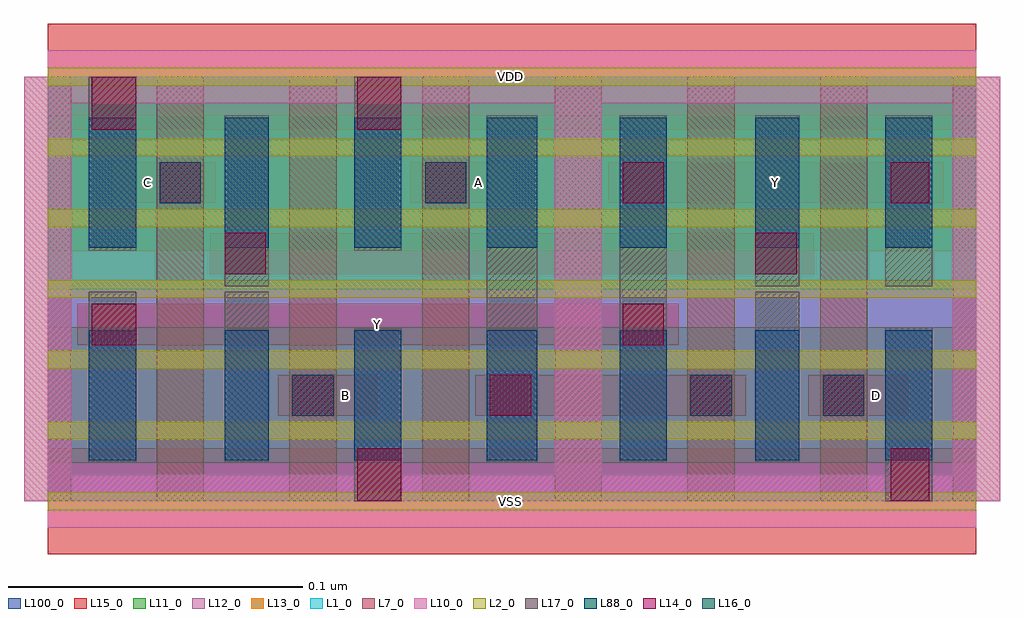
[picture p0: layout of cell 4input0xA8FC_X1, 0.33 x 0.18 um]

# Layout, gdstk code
import gdstk
lib = gdstk.Library(unit=1e-6, precision=1e-09)
def R(c, l, rs):  # rectangles x0, y0, x1, y1
    for r in rs: c.add(gdstk.rectangle(r[:2], r[2:], *l))
def A(c, l, x, y, w, h, nx, ny, dx, dy):  # array of equal rectangles
    R(c, l, [(x+i*dx, y+j*dy, x+i*dx+w, y+j*dy+h) for i in range(nx) for j in range(ny)])
def P(c, l, *ps):  # polygons
    for p in ps: c.add(gdstk.Polygon(p, *l))
L1_0 = (1, 0)
L2_0 = (2, 0)
L7_0 = (7, 0)
L10_0 = (10, 0)
L11_0 = (11, 0)
L12_0 = (12, 0)
L13_0 = (13, 0)
L14_0 = (14, 0)
L15_0 = (15, 0)
L16_0 = (16, 0)
L17_0 = (17, 0)
L88_0 = (88, 0)
L100_0 = (100, 0)

c_4input0xa8fc_x1 = lib.new_cell('4input0xA8FC_X1')
R(c_4input0xa8fc_x1, L1_0, [(0,0.072,0.315,0.144)])
A(c_4input0xa8fc_x1, L2_0, 0, -0.003, 0.315, 0.006, 1, 7, 0, 0.024)
A(c_4input0xa8fc_x1, L7_0, -0.008, 0, 0.016, 0.144, 8, 1, 0.045, 0)
P(c_4input0xa8fc_x1, L10_0, [(0,-0.009),(0,0),(-0.008,0),(-0.008,0.135),(0.008,0.135),(0.008,0.009),(0.172,0.009),(0.172,0.135),(0.188,0.135),(0.188,0.009),(0.307,0.009),(0.307,0.135),(-0.008,0.135),(-0.008,0.144),(0,0.144),(0,0.153),(0.315,0.153),(0.315,0.144),(0.323,0.144),(0.323,0),(0.315,0),(0.315,-0.009)])
R(c_4input0xa8fc_x1, L11_0, [(0,0.013,0.315,0.059), (0,0.085,0.315,0.131)])
R(c_4input0xa8fc_x1, L12_0, [(0,0,0.315,0.072)])
R(c_4input0xa8fc_x1, L13_0, [(0,0.072,0.315,0.144)])
R(c_4input0xa8fc_x1, L14_0, [(0.105,0,0.12,0.018), (0.286,0,0.299,0.018), (0.083,0.029,0.097,0.043), (0.15,0.029,0.164,0.043), (0.218,0.029,0.232,0.043), (0.263,0.029,0.277,0.043), (0.015,0.053,0.03,0.067), (0.195,0.053,0.209,0.067), (0.06,0.077,0.074,0.091), (0.24,0.077,0.254,0.091), (0.038,0.101,0.052,0.115), (0.128,0.101,0.142,0.115), (0.195,0.101,0.209,0.115), (0.286,0.101,0.299,0.115), (0.015,0.126,0.03,0.144), (0.105,0.126,0.12,0.144)])
R(c_4input0xa8fc_x1, L15_0, [(0,-0.018,0.315,0.018), (0.078,0.029,0.112,0.043), (0.145,0.029,0.237,0.043), (0.258,0.029,0.292,0.043), (0.01,0.053,0.214,0.067), (0.055,0.077,0.26,0.091), (0.022,0.101,0.057,0.115), (0.123,0.101,0.157,0.115), (0.19,0.101,0.304,0.115), (0,0.126,0.315,0.162)])
R(c_4input0xa8fc_x1, L16_0, [(0.083,0.029,0.097,0.043), (0.218,0.029,0.232,0.043), (0.263,0.029,0.277,0.043), (0.038,0.101,0.052,0.115), (0.128,0.101,0.142,0.115)])
R(c_4input0xa8fc_x1, L17_0, [(0.104,0,0.12,0.059), (0.284,0,0.3,0.059), (0.014,0.013,0.03,0.071), (0.06,0.013,0.075,0.071), (0.149,0.013,0.166,0.131), (0.194,0.013,0.21,0.131), (0.24,0.013,0.255,0.071), (0.06,0.073,0.075,0.131), (0.24,0.073,0.255,0.131), (0.284,0.073,0.3,0.131), (0.014,0.085,0.03,0.144), (0.104,0.085,0.12,0.144)])
A(c_4input0xa8fc_x1, L88_0, 0.014, 0.014, 0.016, 0.044, 4, 2, 0.09, 0.072)
R(c_4input0xa8fc_x1, L88_0, [(0.06,0.014,0.075,0.058), (0.149,0.014,0.166,0.058), (0.24,0.014,0.255,0.058), (0.06,0.086,0.075,0.13), (0.149,0.086,0.166,0.13), (0.24,0.086,0.255,0.13)])
R(c_4input0xa8fc_x1, L100_0, [(0,0,0.315,0.144)])
c_4input0xa8fc_x1.add(gdstk.Label('D', (0.281,0.036), layer=15, texttype=251))
c_4input0xa8fc_x1.add(gdstk.Label('VSS', (0.157,0), layer=15, texttype=251))
c_4input0xa8fc_x1.add(gdstk.Label('VDD', (0.157,0.144), layer=15, texttype=251))
c_4input0xa8fc_x1.add(gdstk.Label('A', (0.146,0.108), layer=15, texttype=251))
c_4input0xa8fc_x1.add(gdstk.Label('VSS', (0.157,0), layer=15, texttype=251))
c_4input0xa8fc_x1.add(gdstk.Label('VDD', (0.157,0.144), layer=15, texttype=251))
c_4input0xa8fc_x1.add(gdstk.Label('B', (0.101,0.036), layer=15, texttype=251))
c_4input0xa8fc_x1.add(gdstk.Label('VSS', (0.157,0), layer=15, texttype=251))
c_4input0xa8fc_x1.add(gdstk.Label('VDD', (0.157,0.144), layer=15, texttype=251))
c_4input0xa8fc_x1.add(gdstk.Label('Y', (0.247,0.108), layer=15, texttype=251))
c_4input0xa8fc_x1.add(gdstk.Label('Y', (0.112,0.06), layer=15, texttype=251))
c_4input0xa8fc_x1.add(gdstk.Label('VSS', (0.157,0), layer=15, texttype=251))
c_4input0xa8fc_x1.add(gdstk.Label('VDD', (0.157,0.144), layer=15, texttype=251))
c_4input0xa8fc_x1.add(gdstk.Label('C', (0.034,0.108), layer=15, texttype=251))
c_4input0xa8fc_x1.add(gdstk.Label('VSS', (0.157,0), layer=15, texttype=251))
c_4input0xa8fc_x1.add(gdstk.Label('VDD', (0.157,0.144), layer=15, texttype=251))
c_4input0xa8fc_x1.add(gdstk.Label('VSS', (0.157,0), layer=3, texttype=251))
c_4input0xa8fc_x1.add(gdstk.Label('VSS', (0.157,0), layer=3, texttype=251))
c_4input0xa8fc_x1.add(gdstk.Label('VSS', (0.157,0), layer=3, texttype=251))
c_4input0xa8fc_x1.add(gdstk.Label('VSS', (0.157,0), layer=3, texttype=251))
c_4input0xa8fc_x1.add(gdstk.Label('VSS', (0.157,0), layer=3, texttype=251))
c_4input0xa8fc_x1.add(gdstk.Label('VDD', (0.157,0.144), layer=1, texttype=251))
c_4input0xa8fc_x1.add(gdstk.Label('VDD', (0.157,0.144), layer=1, texttype=251))
c_4input0xa8fc_x1.add(gdstk.Label('VDD', (0.157,0.144), layer=1, texttype=251))
c_4input0xa8fc_x1.add(gdstk.Label('VDD', (0.157,0.144), layer=1, texttype=251))
c_4input0xa8fc_x1.add(gdstk.Label('VDD', (0.157,0.144), layer=1, texttype=251))

lib.write_gds('4input0xA8FC_X1.gds')
